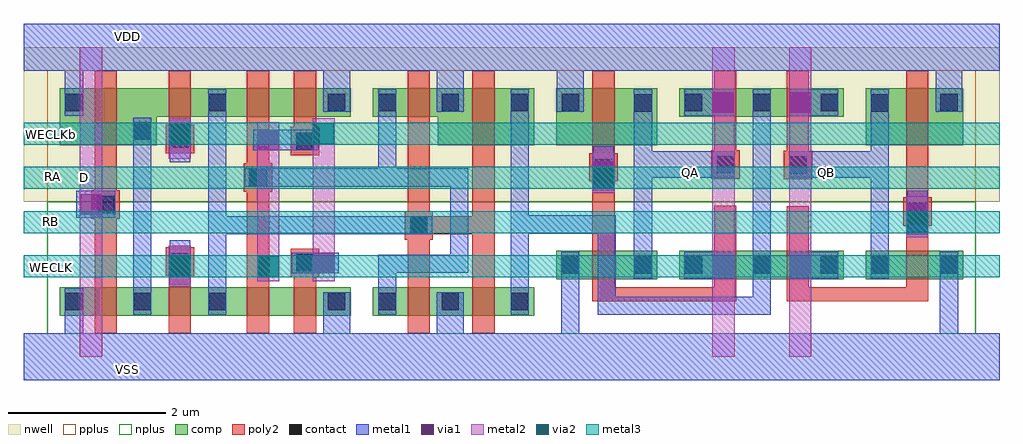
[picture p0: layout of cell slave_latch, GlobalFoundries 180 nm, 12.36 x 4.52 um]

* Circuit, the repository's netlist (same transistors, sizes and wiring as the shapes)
** sch_path: /foss/designs/engn1600-team1/CAD3/slave_latch.sch
.subckt slave_latch VDD VSS QA WECLK WECLKb RA RB QB D
*.PININFO D:I RA:I RB:I WECLKb:I WECLK:I QA:O QB:O VDD:B VSS:B
M1 net1 WECLKb net2 VDD pfet_03v3 L=0.28u W=0.36u nf=1 m=1
M2 net1 D VDD VDD pfet_03v3 L=0.28u W=0.72u nf=1 m=1
M3 net3 net2 VDD VDD pfet_03v3 L=0.28u W=0.72u nf=1 m=1
M4 net4 net2 VDD VDD pfet_03v3 L=0.28u W=0.36u nf=1 m=1
M5 VDD WECLK net8 VDD pfet_03v3 L=0.28u W=0.36u nf=1 m=1
M6 net8 net4 net2 VDD pfet_03v3 L=0.28u W=0.36u nf=1 m=1
M7 net1 D VSS VSS nfet_03v3 L=0.28u W=0.36u nf=1 m=1
M8 net1 WECLK net2 VSS nfet_03v3 L=0.28u W=0.36u nf=1 m=1
M9 net3 net2 VSS VSS nfet_03v3 L=0.28u W=0.36u nf=1 m=1
M10 net4 net2 VSS VSS nfet_03v3 L=0.28u W=0.36u nf=1 m=1
M11 net7 net4 net2 VSS nfet_03v3 L=0.28u W=0.36u nf=1 m=1
M12 VSS WECLKb net7 VSS nfet_03v3 L=0.28u W=0.36u nf=1 m=1
M13 net3 net5 QB VDD pfet_03v3 L=0.28u W=0.36u nf=1 m=1
M14 net3 RB QB VSS nfet_03v3 L=0.28u W=0.36u nf=1 m=1
M15 net5 RB VDD VDD pfet_03v3 L=0.28u W=0.72u nf=1 m=1
M16 net5 RB VSS VSS nfet_03v3 L=0.28u W=0.36u nf=1 m=1
M21 net3 net6 QA VDD pfet_03v3 L=0.28u W=0.36u nf=1 m=1
M22 net3 RA QA VSS nfet_03v3 L=0.28u W=0.36u nf=1 m=1
M23 net6 RA VDD VDD pfet_03v3 L=0.28u W=0.72u nf=1 m=1
M24 net6 RA VSS VSS nfet_03v3 L=0.28u W=0.36u nf=1 m=1
.ends

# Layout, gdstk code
import gdstk
lib = gdstk.Library(unit=1e-6, precision=5e-09)
def R(c, l, rs):  # rectangles x0, y0, x1, y1
    for r in rs: c.add(gdstk.rectangle(r[:2], r[2:], *l))
def A(c, l, x, y, w, h, nx, ny, dx, dy):  # array of equal rectangles
    R(c, l, [(x+i*dx, y+j*dy, x+i*dx+w, y+j*dy+h) for i in range(nx) for j in range(ny)])
nwell = (21, 0)
comp = (22, 0)
poly2 = (30, 0)
pplus = (31, 0)
nplus = (32, 0)
contact = (33, 0)
metal1 = (34, 0)
via1 = (35, 0)
metal2 = (36, 0)
via2 = (38, 0)
metal3 = (42, 0)

slave_latch = lib.new_cell('slave_latch')
R(slave_latch, nwell, [(-6.705,3.585,5.655,5.545)])
R(slave_latch, comp, [(-6.245,2.145,-2.56,2.505), (-2.28,2.145,-0.24,2.505), (0.04,2.605,1.32,2.965), (1.6,2.605,3.68,2.965), (3.96,2.605,5.195,2.965), (-6.245,4.305,-5.02,5.025), (-1.46,4.305,-0.24,5.025), (0.04,4.305,1.32,5.025), (3.96,4.305,5.195,5.025), (-5.02,4.665,-2.56,5.025), (-2.28,4.665,-1.46,5.025), (1.6,4.665,3.68,5.025)])
R(slave_latch, poly2, [(-5.805,1.925,-5.525,5.245), (-4.865,1.925,-4.585,3.01), (-3.875,1.925,-3.595,5.245), (-3.28,1.925,-3,2.965), (-1.84,1.925,-1.56,5.245), (-1.02,1.925,-0.74,5.245), (0.5,2.325,0.78,5.245), (0.78,2.325,2.32,2.505), (2.96,2.325,4.475,2.505), (4.475,2.325,4.755,5.245), (2.04,2.505,2.32,3.535), (2.96,2.505,3.24,3.53), (-3.32,2.635,-2.96,2.995), (-4.905,2.65,-4.545,3.01), (-1.88,3.11,-1.52,3.47), (-1.56,3.175,-1.02,3.405), (4.435,3.285,4.795,3.645), (-5.845,3.375,-5.485,3.735), (-3.915,3.715,-3.555,4.075), (0.46,3.845,0.82,4.205), (2.925,3.875,3.285,4.235), (2.96,3.875,3.24,5.245), (2.005,3.88,2.365,4.24), (2.04,3.88,2.32,5.245), (-3.32,4.175,-2.96,4.535), (-4.905,4.205,-4.545,4.565), (-4.865,4.22,-4.585,5.245), (-3.28,4.235,-3,5.245)])
R(slave_latch, pplus, [(-6.405,3.585,5.355,5.255)])
R(slave_latch, nplus, [(-6.405,1.915,5.355,3.585)])
R(slave_latch, contact, [(-6.175,2.215,-5.955,2.435), (-5.31,2.215,-5.09,2.435), (-4.36,2.215,-4.14,2.435), (-2.85,2.215,-2.63,2.435), (-2.21,2.215,-1.99,2.435), (-1.41,2.215,-1.19,2.435), (-0.53,2.215,-0.31,2.435), (0.11,2.675,0.33,2.895), (1.03,2.675,1.25,2.895), (1.67,2.675,1.89,2.895), (2.535,2.675,2.755,2.895), (3.39,2.675,3.61,2.895), (4.03,2.675,4.25,2.895), (4.905,2.675,5.125,2.895), (-3.25,2.705,-3.03,2.925), (-4.835,2.72,-4.615,2.94), (-1.81,3.18,-1.59,3.4), (4.505,3.355,4.725,3.575), (-5.775,3.445,-5.555,3.665), (-3.845,3.785,-3.625,4.005), (0.53,3.915,0.75,4.135), (2.995,3.945,3.215,4.165), (2.075,3.95,2.295,4.17), (-3.25,4.245,-3.03,4.465), (-4.835,4.275,-4.615,4.495), (-5.31,4.375,-5.09,4.595), (1.03,4.73,1.25,4.95), (4.03,4.73,4.25,4.95), (-6.175,4.735,-5.955,4.955), (-4.36,4.735,-4.14,4.955), (-2.85,4.735,-2.63,4.955), (-2.21,4.735,-1.99,4.955), (-1.41,4.735,-1.19,4.955), (-0.53,4.735,-0.31,4.955), (0.11,4.735,0.33,4.955), (1.67,4.735,1.89,4.955), (2.535,4.735,2.755,4.955), (3.39,4.735,3.61,4.955), (4.905,4.735,5.125,4.955)])
R(slave_latch, metal1, [(-6.705,1.325,5.655,1.925), (-6.18,1.925,-5.95,2.495), (-2.91,1.925,-2.57,2.44), (-1.47,1.925,-1.13,2.44), (0.105,1.925,0.335,2.955), (4.9,1.925,5.13,2.955), (-5.315,2.155,-5.085,4.655), (-4.365,2.155,-4.135,5.015), (-2.215,2.155,-1.985,2.69), (-0.535,2.155,-0.305,5.015), (0.565,2.155,0.795,3.185), (0.795,2.155,2.76,2.385), (2.53,2.385,2.76,5.015), (-4.855,2.54,-4.595,3.1), (1.025,2.615,1.255,5.015), (1.665,2.615,2.3,2.955), (2.99,2.615,3.615,2.955), (4.025,2.615,4.255,5.015), (-3.31,2.685,-2.715,2.945), (-2.215,2.69,-1.07,2.92), (-1.3,2.92,-1.07,3.78), (4.485,3.17,4.745,3.73), (-4.135,3.175,-1.53,3.405), (-0.305,3.185,0.795,3.415), (-6.04,3.385,-5.545,3.725), (0.51,3.73,0.77,4.29), (-3.905,3.78,-1.07,4.01), (1.255,3.89,2.3,4.23), (2.99,3.89,4.025,4.23), (-2.215,4.01,-1.985,5.015), (-4.855,4.09,-4.595,4.65), (-3.795,4.24,-2.97,4.5), (-6.18,4.675,-5.95,5.245), (1.665,4.675,2.3,5.015), (2.99,4.675,3.615,5.015), (-2.91,4.73,-2.57,5.245), (-1.47,4.73,-1.13,5.245), (0.05,4.73,0.39,5.245), (4.845,4.73,5.185,5.245), (-6.705,5.245,5.655,5.845)])
R(slave_latch, via1, [(-4.855,2.64,-4.595,2.9), (2.03,2.655,2.29,2.915), (3,2.655,3.26,2.915), (-3.035,2.685,-2.775,2.945), (4.485,3.3,4.745,3.56), (-5.98,3.425,-5.72,3.685), (0.51,3.84,0.77,4.1), (-3.735,4.24,-3.475,4.5), (-4.855,4.32,-4.595,4.58), (2.03,4.715,2.29,4.975), (3,4.715,3.26,4.975)])
R(slave_latch, metal2, [(-5.99,1.625,-5.71,5.545), (2.02,1.625,2.3,5.545), (2.99,1.625,3.27,5.545), (-4.865,2.51,-4.585,3.03), (-3.745,2.58,-3.465,4.595), (-3.045,2.58,-2.765,4.645), (4.475,3.14,4.755,3.66), (0.5,3.7,0.78,4.22), (-4.865,4.13,-4.585,4.65)])
R(slave_latch, via2, [(-4.855,2.64,-4.595,2.9), (-3.735,2.64,-3.475,2.9), (4.485,3.2,4.745,3.46), (0.51,3.76,0.77,4.02), (-4.855,4.32,-4.595,4.58), (-3.035,4.32,-2.775,4.58)])
A(slave_latch, metal3, -6.705, 2.63, 12.36, 0.28, 1, 4, 0, 0.56)
slave_latch.add(gdstk.Label('VDD', (-5.39,5.685), layer=34, texttype=10))
slave_latch.add(gdstk.Label('VSS', (-5.39,1.47), layer=34, texttype=10))
slave_latch.add(gdstk.Label('QA', (1.745,3.955), layer=36, texttype=10))
slave_latch.add(gdstk.Label('QB', (3.465,3.955), layer=36, texttype=10))
slave_latch.add(gdstk.Label('D', (-5.93,3.9), layer=36, texttype=10))
slave_latch.add(gdstk.Label('WECLKb', (-6.355,4.44), layer=42, texttype=10))
slave_latch.add(gdstk.Label('WECLK', (-6.345,2.75), layer=42, texttype=10))
slave_latch.add(gdstk.Label('RA', (-6.335,3.91), layer=42, texttype=10))
slave_latch.add(gdstk.Label('RB', (-6.36,3.34), layer=42, texttype=10))

lib.write_gds('slave_latch.gds')
